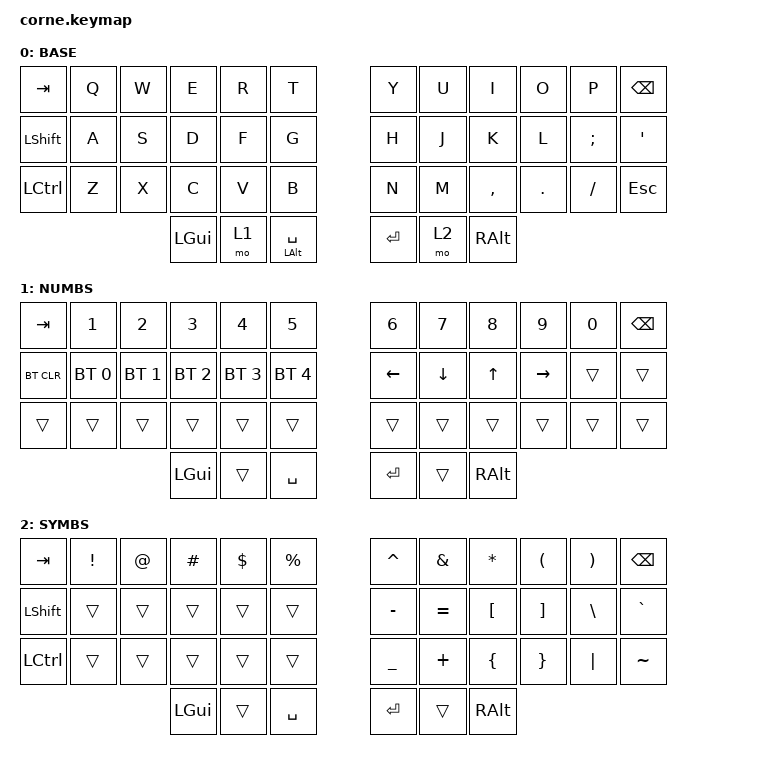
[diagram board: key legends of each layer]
/*
 * Copyright (c) 2020 The ZMK Contributors
 *
 * SPDX-License-Identifier: MIT
 */

#include <behaviors.dtsi>
#include <dt-bindings/zmk/bt.h>
#include <dt-bindings/zmk/keys.h>

/ {
    combos {
        compatible = "zmk,combos";

        BOOTMOD {
            bindings = <&bootloader>;
            key-positions = <38 39>;
        };

        TURN_OFF {
            bindings = <&soft_off>;
            key-positions = <36 41>;
        };
    };

    behaviors {
        srv: srv {
            compatible = "zmk,behavior-sensor-rotate-var";
            label = "SRV";
            #sensor-binding-cells = <2>;
            bindings = <&none>, <&none>;
        };
    };

    keymap {
        compatible = "zmk,keymap";

        BASE {
            // -----------------------------------------------------------------------------------------
            // |  TAB |  Q  |  W  |  E  |  R  |  T  |   |  Y  |  U   |  I  |  O  |  P  | BSPC |
            // | CTRL |  A  |  S  |  D  |  F  |  G  |   |  H  |  J   |  K  |  L  |  ;  |  '   |
            // | SHFT |  Z  |  X  |  C  |  V  |  B  |   |  N  |  M   |  ,  |  .  |  /  | ESC  |
            //                    | GUI | LWR | SPC |   | ENT | RSE  | ALT |

            bindings = <
&kp TAB    &kp Q  &kp W  &kp E     &kp R  &kp T                 &kp Y    &kp U  &kp I      &kp O    &kp P     &kp BSPC
&kp LSHFT  &kp A  &kp S  &kp D     &kp F  &kp G                 &kp H    &kp J  &kp K      &kp L    &kp SEMI  &kp SQT
&kp LCTRL  &kp Z  &kp X  &kp C     &kp V  &kp B                 &kp N    &kp M  &kp COMMA  &kp DOT  &kp FSLH  &kp ESC
                         &kp LGUI  &mo 1  &mt LEFT_ALT SPACE    &kp RET  &mo 2  &kp RALT
            >;
        };

        NUMBS {
            // -----------------------------------------------------------------------------------------
            // |  TAB |  1  |  2  |  3  |  4  |  5  |   |  6  |  7  |  8  |  9  |  0  | BSPC |
            // | BTCLR| BT1 | BT2 | BT3 | BT4 | BT5 |   | LFT | DWN |  UP | RGT |     |      |
            // | SHFT |     |     |     |     |     |   |     |     |     |     |     |      |
            //                    | GUI |     | SPC |   | ENT |     | ALT |

            bindings = <
&kp TAB     &kp N1        &kp N2        &kp N3        &kp N4        &kp N5          &kp N6    &kp N7    &kp N8    &kp N9     &kp N0  &kp BSPC
&bt BT_CLR  &bt BT_SEL 0  &bt BT_SEL 1  &bt BT_SEL 2  &bt BT_SEL 3  &bt BT_SEL 4    &kp LEFT  &kp DOWN  &kp UP    &kp RIGHT  &trans  &trans
&trans      &trans        &trans        &trans        &trans        &trans          &trans    &trans    &trans    &trans     &trans  &trans
                                        &kp LGUI      &trans        &kp SPACE       &kp RET   &trans    &kp RALT
            >;
        };

        SYMBS {
            // -----------------------------------------------------------------------------------------
            // |  TAB |  !  |  @  |  #  |  $  |  %  |   |  ^  |  &  |  *  |  (  |  )  | BSPC |
            // | CTRL |     |     |     |     |     |   |  -  |  =  |  [  |  ]  |  \  |  `   |
            // | SHFT |     |     |     |     |     |   |  _  |  +  |  {  |  }  | "|" |  ~   |
            //                    | GUI |     | SPC |   | ENT |     | ALT |

            bindings = <
&kp TAB    &kp EXCL  &kp AT  &kp HASH  &kp DLLR  &kp PRCNT    &kp CARET  &kp AMPS   &kp ASTRK  &kp LPAR  &kp RPAR  &kp BSPC
&kp LSHFT  &trans    &trans  &trans    &trans    &trans       &kp MINUS  &kp EQUAL  &kp LBKT   &kp RBKT  &kp BSLH  &kp GRAVE
&kp LCTRL  &trans    &trans  &trans    &trans    &trans       &kp UNDER  &kp PLUS   &kp LBRC   &kp RBRC  &kp PIPE  &kp TILDE
                             &kp LGUI  &trans    &kp SPACE    &kp RET    &trans     &kp RALT
            >;
        };
    };
};
